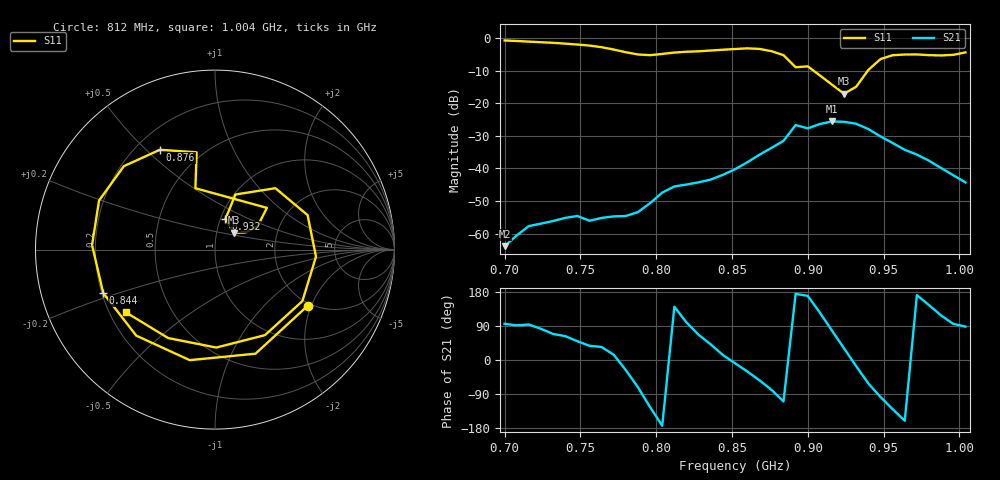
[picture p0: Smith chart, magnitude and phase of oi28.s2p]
# Hz S RI R 50
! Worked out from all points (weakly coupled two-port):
!   39 points, 700 MHz to 1.004 GHz, reference 50 ohm
!   highest |S21| = -25.55 dB at 916 MHz (marker M1); lowest = -63.9 dB at 700 MHz (marker M2)
!   lowest |S11| = -17.0 dB at 924 MHz (marker M3), VSWR 1.33, Z = 60.5 + j11.6 ohm
!   |S11| at or under -10 dB: 904 MHz to 939.5 MHz (35.56 MHz wide, 3.86 % of centre)
!   S12 and S22 are empty: the file has one direction only
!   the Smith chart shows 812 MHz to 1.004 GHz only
!   S11 on the Smith chart (normalised r, x): 812 MHz: 1.92, -1.89; 844 MHz: 0.21, -0.18; 876 MHz: 0.30, +0.55; 932 MHz: 1.06, +0.37; 1.004 GHz: 0.27, -0.30
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7e8  0.7608 0.5307  -6.11e-05 0.000636  0 0  0 0
7.24e8  0.8318 -0.258  0.000192 0.00141  0 0  0 0
7.4e8  0.4439 -0.7  0.000792 0.00155  0 0  0 0
7.56e8  -0.1965 -0.7483  0.00125 0.000958  0 0  0 0
7.72e8  -0.6465 -0.1845  0.00178 0.000438  0 0  0 0
7.8e8  -0.5657 0.2315  0.00166 -0.000839  0 0  0 0
7.88e8  -0.2094 0.5247  0.000657 -0.00203  0 0  0 0
8.04e8  0.5628 0.1232  -0.00423 -0.000482  0 0  0 0
8.12e8  0.5172 -0.3122  -0.00408 0.00336  0 0  0 0
8.28e8  -0.1409 -0.616  0.00244 0.00562  0 0  0 0
8.44e8  -0.6228 -0.2418  0.00777 0.00184  0 0  0 0
8.52e8  -0.6849 0.0254  0.00962 -0.00146  0 0  0 0
8.76e8  -0.3068 0.5564  0.00415 -0.0203  0 0  0 0
8.92e8  -0.1092 0.3419  -0.0462 0.00449  0 0  0 0
9e8  0.2892 0.2325  -0.0407 0.0077  0 0  0 0
9.08e8  0.2366 0.1282  -0.0277 0.0395  0 0  0 0
9.16e8  0.1688 0.0955  0.0115 0.0515  0 0  0 0
9.24e8  0.1048 0.0937  0.0449 0.0264  0 0  0 0
9.32e8  0.0584 0.1711  0.0466 -0.0139  0 0  0 0
9.56e8  0.5159 0.192  -0.0157 -0.019  0 0  0 0
9.8e8  0.2786 -0.4764  -0.0107 0.00758  0 0  0 0
1.004e9  -0.4971 -0.3492  0.000191 0.0061  0 0  0 0
